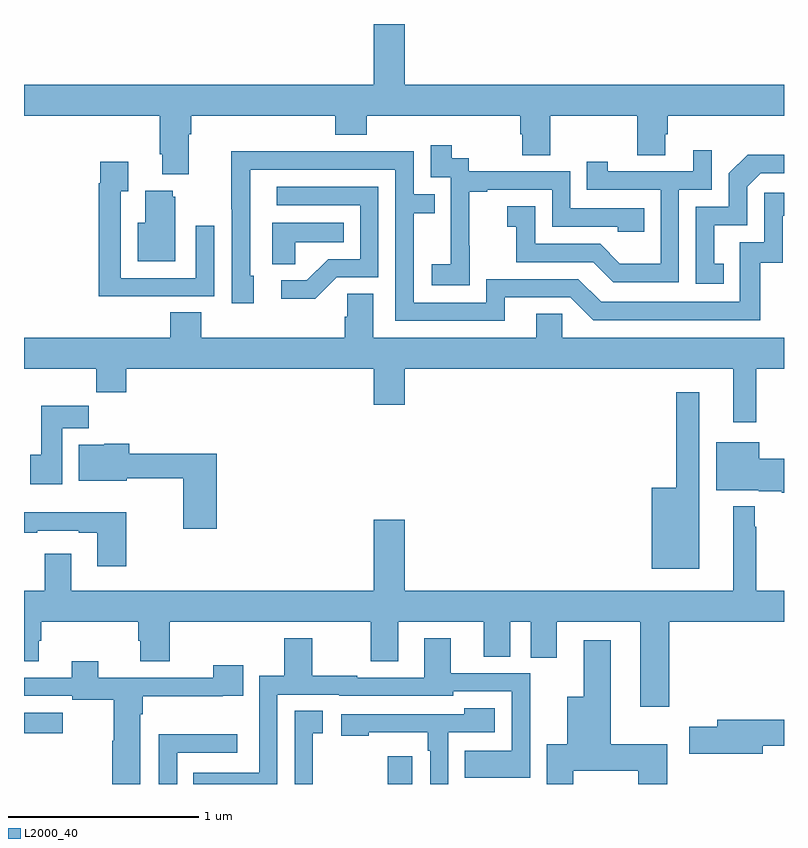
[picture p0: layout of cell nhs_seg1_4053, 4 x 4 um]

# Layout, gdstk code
import gdstk
lib = gdstk.Library(unit=1e-6, precision=1e-09)
def R(c, l, rs):  # rectangles x0, y0, x1, y1
    for r in rs: c.add(gdstk.rectangle(r[:2], r[2:], *l))
def P(c, l, *ps):  # polygons
    for p in ps: c.add(gdstk.Polygon(p, *l))
L2000_40 = (2000, 40)

nhs_seg1_4053 = lib.new_cell('nhs_seg1_4053')
R(nhs_seg1_4053, L2000_40, [(332.914,564.199,333.043,564.346), (331,564.465,331.204,564.573)])
P(nhs_seg1_4053, L2000_40, [(331.867,567.62),(331.88,567.62),(331.88,567.716),(332.639,567.716),(332.639,567.617),(332.804,567.617),(332.804,567.716),(333.611,567.716),(333.611,567.618),(333.623,567.618),(333.623,567.508),(333.771,567.508),(333.771,567.716),(334.228,567.716),(334.228,567.508),(334.375,567.508),(334.375,567.618),(334.388,567.618),(334.388,567.716),(335,567.716),(335,567.88),(333.004,567.88),(333.004,568.199),(332.84,568.199),(332.84,567.88),(331,567.88),(331,567.716),(331.715,567.716),(331.715,567.514),(331.727,567.514),(331.727,567.407),(331.867,567.407)],
  [(333.345,567.031),(333.344,567.031),(333.344,567.315),(333.439,567.315),(333.439,567.327),(333.78,567.327),(333.78,567.132),(334.125,567.132),(334.125,567.105),(334.265,567.105),(334.265,567.228),(333.876,567.228),(333.876,567.423),(333.342,567.423),(333.342,567.492),(333.25,567.492),(333.25,567.562),(333.141,567.562),(333.141,567.393),(333.246,567.393),(333.246,567.164),(333.245,567.164),(333.245,566.935),(333.147,566.935),(333.147,566.825),(333.345,566.825)],
  [(334.446,567.327),(334.62,567.327),(334.62,567.535),(334.523,567.535),(334.523,567.423),(334.072,567.423),(334.072,567.475),(333.961,567.475),(333.961,567.327),(334.35,567.327),(334.35,566.938),(334.136,566.938),(334.032,567.042),(333.69,567.042),(333.69,567.241),(333.543,567.241),(333.543,567.131),(333.592,567.131),(333.592,566.946),(333.995,566.946),(334.1,566.841),(334.446,566.841)],
  [(333.529,566.76),(333.876,566.76),(333.996,566.64),(334.876,566.64),(334.876,566.943),(334.994,566.943),(334.994,567.189),(335,567.189),(335,567.31),(334.896,567.31),(334.896,567.051),(334.767,567.051),(334.767,566.736),(334.038,566.736),(333.918,566.856),(333.432,566.856),(333.432,566.733),(333.051,566.733),(333.051,567.202),(333.161,567.202),(333.161,567.303),(333.051,567.303),(333.051,567.528),(332.555,567.528),(332.555,567.53),(332.092,567.53),(332.092,567.223),(332.094,567.223),(332.094,566.73),(332.209,566.73),(332.209,566.874),(332.19,566.874),(332.19,567.432),(332.955,567.432),(332.955,566.637),(333.529,566.637)],
  [(334.682,566.937),(334.633,566.937),(334.633,567.141),(334.806,567.141),(334.806,567.342),(334.878,567.414),(335,567.414),(335,567.512),(334.808,567.512),(334.71,567.414),(334.71,567.237),(334.536,567.237),(334.536,566.832),(334.682,566.832)],
  [(331.685,566.766),(332.001,566.766),(332.001,567.136),(331.905,567.136),(331.905,566.862),(331.509,566.862),(331.509,567.319),(331.549,567.319),(331.549,567.475),(331.401,567.475),(331.401,567.362),(331.393,567.362),(331.393,566.765),(331.685,566.765)],
  [(332.646,566.865),(332.865,566.865),(332.865,567.342),(332.331,567.342),(332.331,567.246),(332.769,567.246),(332.769,566.961),(332.6,566.961),(332.489,566.85),(332.355,566.85),(332.355,566.753),(332.533,566.753)],
  [(331.795,567.291),(331.784,567.291),(331.784,567.322),(331.637,567.322),(331.637,567.154),(331.598,567.154),(331.598,566.951),(331.795,566.951)],
  [(332.427,567.05),(332.684,567.05),(332.684,567.154),(332.306,567.154),(332.306,566.935),(332.427,566.935)],
  [(334.855,566.384),(335,566.384),(335,566.548),(333.834,566.548),(333.834,566.675),(333.695,566.675),(333.695,566.548),(332.839,566.548),(332.839,566.78),(332.7,566.78),(332.7,566.657),(332.687,566.657),(332.687,566.548),(331.934,566.548),(331.934,566.681),(331.769,566.681),(331.769,566.548),(331,566.548),(331,566.384),(331.381,566.384),(331.381,566.26),(331.538,566.26),(331.538,566.384),(332.84,566.384),(332.84,566.196),(333.004,566.196),(333.004,566.384),(334.733,566.384),(334.733,566.103),(334.855,566.103)],
  [(334.555,566.26),(334.434,566.26),(334.434,565.759),(334.304,565.759),(334.304,565.331),(334.555,565.331)],
  [(331.201,566.072),(331.34,566.072),(331.34,566.191),(331.091,566.191),(331.091,565.932),(331.034,565.932),(331.034,565.776),(331.201,565.776)],
  [(335,565.911),(334.87,565.911),(334.87,565.999),(334.643,565.999),(334.643,565.745),(334.866,565.745),(334.866,565.739),(334.988,565.739),(334.988,565.733),(335,565.733)],
  [(332.015,565.936),(331.553,565.936),(331.553,565.99),(331.422,565.99),(331.422,565.984),(331.289,565.984),(331.289,565.796),(331.54,565.796),(331.54,565.807),(331.837,565.807),(331.837,565.542),(332.015,565.542)],
  [(334.397,565.052),(335,565.052),(335,565.216),(334.855,565.216),(334.855,565.553),(334.847,565.553),(334.847,565.66),(334.733,565.66),(334.733,565.216),(333.004,565.216),(333.004,565.591),(332.84,565.591),(332.84,565.216),(331.249,565.216),(331.249,565.411),(331.109,565.411),(331.109,565.216),(331,565.216),(331,564.844),(331.078,564.844),(331.078,564.954),(331.091,564.954),(331.091,565.052),(331.601,565.052),(331.601,564.954),(331.613,564.954),(331.613,564.844),(331.766,564.844),(331.766,565.052),(332.824,565.052),(332.824,564.846),(332.971,564.846),(332.971,565.052),(333.419,565.052),(333.419,564.868),(333.559,564.868),(333.559,565.052),(333.666,565.052),(333.666,564.864),(333.805,564.864),(333.805,565.052),(334.244,565.052),(334.244,564.606),(334.397,564.606)],
  [(331.538,565.63),(331,565.63),(331,565.521),(331.069,565.521),(331.069,565.533),(331.289,565.533),(331.289,565.521),(331.385,565.521),(331.385,565.344),(331.538,565.344)],
  [(332.334,564.669),(332.658,564.669),(332.658,564.663),(333.258,564.663),(333.258,564.687),(333.567,564.687),(333.567,564.373),(333.319,564.373),(333.319,564.233),(333.665,564.233),(333.665,564.783),(333.247,564.783),(333.247,564.967),(333.107,564.967),(333.107,564.759),(332.754,564.759),(332.754,564.77),(332.517,564.77),(332.517,564.967),(332.369,564.967),(332.369,564.77),(332.238,564.77),(332.238,564.258),(331.891,564.258),(331.891,564.199),(332.334,564.199)],
  [(333.892,564.269),(334.232,564.269),(334.232,564.199),(334.385,564.199),(334.385,564.409),(334.087,564.409),(334.087,564.955),(333.947,564.955),(333.947,564.658),(333.86,564.658),(333.86,564.409),(333.752,564.409),(333.752,564.199),(333.892,564.199)],
  [(331.612,564.566),(331.625,564.566),(331.625,564.662),(332.045,564.662),(332.045,564.663),(332.153,564.663),(332.153,564.823),(331.997,564.823),(331.997,564.759),(331.39,564.759),(331.39,564.844),(331.25,564.844),(331.25,564.759),(331,564.759),(331,564.663),(331.254,564.663),(331.254,564.643),(331.472,564.643),(331.472,564.426),(331.465,564.426),(331.465,564.199),(331.612,564.199)],
  [(333.234,564.471),(333.478,564.471),(333.478,564.598),(333.317,564.598),(333.317,564.567),(332.67,564.567),(332.67,564.452),(332.814,564.452),(332.814,564.471),(333.126,564.471),(333.126,564.374),(333.138,564.374),(333.138,564.199),(333.234,564.199)],
  [(332.52,564.466),(332.572,564.466),(332.572,564.584),(332.424,564.584),(332.424,564.199),(332.52,564.199)],
  [(334.888,564.4),(335,564.4),(335,564.536),(334.649,564.536),(334.649,564.5),(334.5,564.5),(334.5,564.358),(334.888,564.358)],
  [(331.806,564.363),(332.122,564.363),(332.122,564.461),(331.71,564.461),(331.71,564.199),(331.806,564.199)])

lib.write_gds('nhs_seg1_4053.gds')
